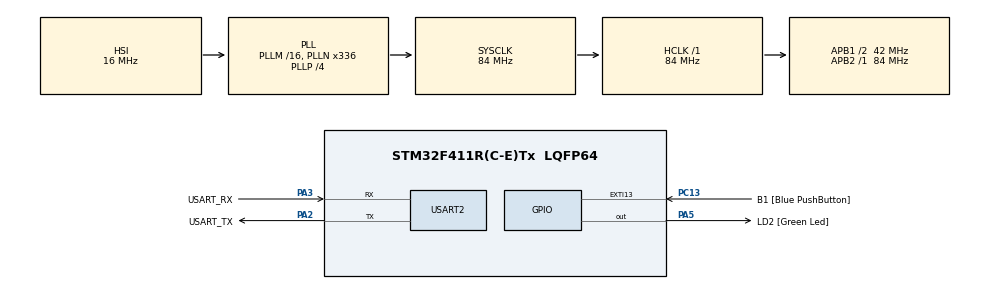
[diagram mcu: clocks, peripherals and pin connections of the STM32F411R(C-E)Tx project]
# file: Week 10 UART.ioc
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Mcu.Family=STM32F4
Mcu.Name=STM32F411R(C-E)Tx
Mcu.Package=LQFP64
NVIC.PriorityGroup=NVIC_PRIORITYGROUP_0
NVIC.USART2_IRQn=true\:0\:0\:false\:false\:true\:true\:true
PA13.GPIO_Label=TMS
PA13.Mode=Serial_Wire
PA13.Signal=SYS_JTMS-SWDIO
PA14.GPIO_Label=TCK
PA14.Mode=Serial_Wire
PA14.Signal=SYS_JTCK-SWCLK
PA2.GPIO_Label=USART_TX
PA2.Mode=Asynchronous
PA2.Signal=USART2_TX
PA3.GPIO_Label=USART_RX
PA3.Mode=Asynchronous
PA3.Signal=USART2_RX
PA5.GPIO_Label=LD2 [Green Led]
PA5.Signal=GPIO_Output
PB3.GPIO_Label=SWO
PB3.Signal=SYS_JTDO-SWO
PC13-ANTI_TAMP.GPIO_Label=B1 [Blue PushButton]
PC13-ANTI_TAMP.GPIO_ModeDefaultEXTI=GPIO_MODE_IT_FALLING
PC13-ANTI_TAMP.Signal=GPXTI13
PC14-OSC32_IN.Mode=LSE-External-Oscillator
PC14-OSC32_IN.Signal=RCC_OSC32_IN
PC15-OSC32_OUT.Mode=LSE-External-Oscillator
PC15-OSC32_OUT.Signal=RCC_OSC32_OUT
PH0\ -\ OSC_IN.Mode=HSE-External-Clock-Source
PH0\ -\ OSC_IN.Signal=RCC_OSC_IN
PH1\ -\ OSC_OUT.Mode=HSE-External-Clock-Source
PH1\ -\ OSC_OUT.Signal=RCC_OSC_OUT
ProjectManager.HeapSize=0x200
ProjectManager.StackSize=0x400
ProjectManager.TargetToolchain=STM32CubeIDE
RCC.48MHZClocksFreq_Value=84000000
RCC.AHBFreq_Value=84000000
RCC.APB1CLKDivider=RCC_HCLK_DIV2
RCC.APB1Freq_Value=42000000
RCC.APB1TimFreq_Value=84000000
RCC.APB2Freq_Value=84000000
RCC.APB2TimFreq_Value=84000000
RCC.CortexFreq_Value=84000000
RCC.FLatency-AdvancedSettings=FLASH_LATENCY_2
RCC.HCLKFreq_Value=84000000
RCC.HSE_VALUE=8000000
RCC.HSI_VALUE=16000000
RCC.PLLN=336
RCC.PLLP=RCC_PLLP_DIV4
RCC.SYSCLKFreq_VALUE=84000000
RCC.SYSCLKSource=RCC_SYSCLKSOURCE_PLLCLK
RCC.VCOOutputFreq_Value=336000000
USART2.VirtualMode=VM_ASYNC
board=NUCLEO-F411RE

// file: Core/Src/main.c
/* USER CODE BEGIN Header */
/**
  ******************************************************************************
  * @file           : main.c
  * @brief          : Main program body
  ******************************************************************************
  * @attention
  *
  * <h2><center>&copy; Copyright (c) 2021 STMicroelectronics.
  * All rights reserved.</center></h2>
  *
  * This software component is licensed by ST under BSD 3-Clause license,
  * the "License"; You may not use this file except in compliance with the
  * License. You may obtain a copy of the License at:
  *                        opensource.org/licenses/BSD-3-Clause
  *
  ******************************************************************************
  */
/* USER CODE END Header */
#include "main.h"

/* USER CODE BEGIN Includes */
#include <stdio.h>
#include <string.h>
/* USER CODE END Includes */

UART_HandleTypeDef huart2;

/* USER CODE BEGIN PV */
char TxDataBuffer[32] = { 0 };
char RxDataBuffer[32] = { 0 };
/* USER CODE END PV */

void SystemClock_Config(void);
static void MX_GPIO_Init(void);
static void MX_USART2_UART_Init(void);
/* USER CODE BEGIN PFP */

void UARTReceiveAndResponsePolling();
int16_t UARTReceiveIT();

/* USER CODE END PFP */

int main(void)
{

  /* MCU Configuration--------------------------------------------------------*/

  /* Reset of all peripherals, Initializes the Flash interface and the Systick. */
  HAL_Init();

  /* Configure the system clock */
  SystemClock_Config();

  /* Initialize all configured peripherals */
  MX_GPIO_Init();
  MX_USART2_UART_Init();
  /* USER CODE BEGIN 2 */
  {

  char temp[]="HELLO WORLD\r\n please type something to test UART\r\n";

  HAL_UART_Transmit(&huart2, (uint8_t*)temp, strlen(temp),10);

  }
  /* USER CODE END 2 */

  /* Infinite loop */
  /* USER CODE BEGIN WHILE */
  while (1)
  {
	  /*Method 1 Polling Mode*>>Bad Implement for Loop/

	  //		UARTReceiveAndResponsePolling();

	  		/*Method 2 Interrupt Mode*/
	  		HAL_UART_Receive_IT(&huart2,  (uint8_t*)RxDataBuffer, 32);

	  		/*Method 2 W/ 1 Char Received*/
	  		int16_t inputchar = UARTReceiveIT();
	  		if(inputchar!=-1)
	  		{

	  			sprintf(TxDataBuffer, "ReceivedChar:[%c]\r\n", inputchar);
	  			HAL_UART_Transmit(&huart2, (uint8_t*)TxDataBuffer, strlen(TxDataBuffer), 1000);
	  		}

	  		/*This section just simmulate Work Load*/
	  		HAL_Delay(100);
	  		HAL_GPIO_TogglePin(LD2_GPIO_Port, LD2_Pin);
    /* USER CODE END WHILE */

  }
}

void SystemClock_Config(void)
{
  RCC_OscInitTypeDef RCC_OscInitStruct = {0};
  RCC_ClkInitTypeDef RCC_ClkInitStruct = {0};

  /** Configure the main internal regulator output voltage
  */
  __HAL_RCC_PWR_CLK_ENABLE();
  __HAL_PWR_VOLTAGESCALING_CONFIG(PWR_REGULATOR_VOLTAGE_SCALE1);
  /** Initializes the RCC Oscillators according to the specified parameters
  * in the RCC_OscInitTypeDef structure.
  */
  RCC_OscInitStruct.OscillatorType = RCC_OSCILLATORTYPE_HSI;
  RCC_OscInitStruct.HSIState = RCC_HSI_ON;
  RCC_OscInitStruct.HSICalibrationValue = RCC_HSICALIBRATION_DEFAULT;
  RCC_OscInitStruct.PLL.PLLState = RCC_PLL_ON;
  RCC_OscInitStruct.PLL.PLLSource = RCC_PLLSOURCE_HSI;
  RCC_OscInitStruct.PLL.PLLM = 16;
  RCC_OscInitStruct.PLL.PLLN = 336;
  RCC_OscInitStruct.PLL.PLLP = RCC_PLLP_DIV4;
  RCC_OscInitStruct.PLL.PLLQ = 4;
  if (HAL_RCC_OscConfig(&RCC_OscInitStruct) != HAL_OK)
  {
    Error_Handler();
  }
  /** Initializes the CPU, AHB and APB buses clocks
  */
  RCC_ClkInitStruct.ClockType = RCC_CLOCKTYPE_HCLK|RCC_CLOCKTYPE_SYSCLK
                              |RCC_CLOCKTYPE_PCLK1|RCC_CLOCKTYPE_PCLK2;
  RCC_ClkInitStruct.SYSCLKSource = RCC_SYSCLKSOURCE_PLLCLK;
  RCC_ClkInitStruct.AHBCLKDivider = RCC_SYSCLK_DIV1;
  RCC_ClkInitStruct.APB1CLKDivider = RCC_HCLK_DIV2;
  RCC_ClkInitStruct.APB2CLKDivider = RCC_HCLK_DIV1;

  if (HAL_RCC_ClockConfig(&RCC_ClkInitStruct, FLASH_LATENCY_2) != HAL_OK)
  {
    Error_Handler();
  }
}

static void MX_USART2_UART_Init(void)
{

  huart2.Instance = USART2;
  huart2.Init.BaudRate = 115200;
  huart2.Init.WordLength = UART_WORDLENGTH_8B;
  huart2.Init.StopBits = UART_STOPBITS_1;
  huart2.Init.Parity = UART_PARITY_NONE;
  huart2.Init.Mode = UART_MODE_TX_RX;
  huart2.Init.HwFlowCtl = UART_HWCONTROL_NONE;
  huart2.Init.OverSampling = UART_OVERSAMPLING_16;
  if (HAL_UART_Init(&huart2) != HAL_OK)
  {
    Error_Handler();
  }

}

static void MX_GPIO_Init(void)
{
  GPIO_InitTypeDef GPIO_InitStruct = {0};

  /* GPIO Ports Clock Enable */
  __HAL_RCC_GPIOC_CLK_ENABLE();
  __HAL_RCC_GPIOH_CLK_ENABLE();
  __HAL_RCC_GPIOA_CLK_ENABLE();
  __HAL_RCC_GPIOB_CLK_ENABLE();

  /*Configure GPIO pin Output Level */
  HAL_GPIO_WritePin(LD2_GPIO_Port, LD2_Pin, GPIO_PIN_RESET);

  /*Configure GPIO pin : B1_Pin */
  GPIO_InitStruct.Pin = B1_Pin;
  GPIO_InitStruct.Mode = GPIO_MODE_IT_FALLING;
  GPIO_InitStruct.Pull = GPIO_NOPULL;
  HAL_GPIO_Init(B1_GPIO_Port, &GPIO_InitStruct);

  /*Configure GPIO pin : LD2_Pin */
  GPIO_InitStruct.Pin = LD2_Pin;
  GPIO_InitStruct.Mode = GPIO_MODE_OUTPUT_PP;
  GPIO_InitStruct.Pull = GPIO_NOPULL;
  GPIO_InitStruct.Speed = GPIO_SPEED_FREQ_LOW;
  HAL_GPIO_Init(LD2_GPIO_Port, &GPIO_InitStruct);

}

/* USER CODE BEGIN 4 */

void UARTReceiveAndResponsePolling()
{
	//create Buffer
	char Receive[32]={0};

	//start Receive in Polling Method
	HAL_UART_Receive(&huart2, (uint8_t*)Receive, 32, 1000);

	//create Feedback text
	sprintf(TxDataBuffer, "Received:[%s]\r\n", Receive);

	//send Text
	HAL_UART_Transmit(&huart2, (uint8_t*)TxDataBuffer, strlen(TxDataBuffer), 1000);

}

int16_t UARTReceiveIT()
{
	//store data last position
	static uint32_t dataPos =0;

	//create dummy data
	int16_t data=-1;

	//check pos in buffer vs last pos
	if(huart2.RxXferSize - huart2.RxXferCount!=dataPos)
	{
		//read date from Buffer
		data=RxDataBuffer[dataPos];

		//move to next pos
		dataPos= (dataPos+1)%huart2.RxXferSize;
	}
	return data;
}

void HAL_UART_RxCpltCallback(UART_HandleTypeDef *huart)
{
	sprintf(TxDataBuffer, "Received:[%s]\r\n", RxDataBuffer);
	HAL_UART_Transmit(&huart2, (uint8_t*)TxDataBuffer, strlen(TxDataBuffer), 1000);
}

/* USER CODE END 4 */

void Error_Handler(void)
{
  __disable_irq();
  while (1)
  {
  }
}

/************************ (C) COPYRIGHT STMicroelectronics *****END OF FILE****/
